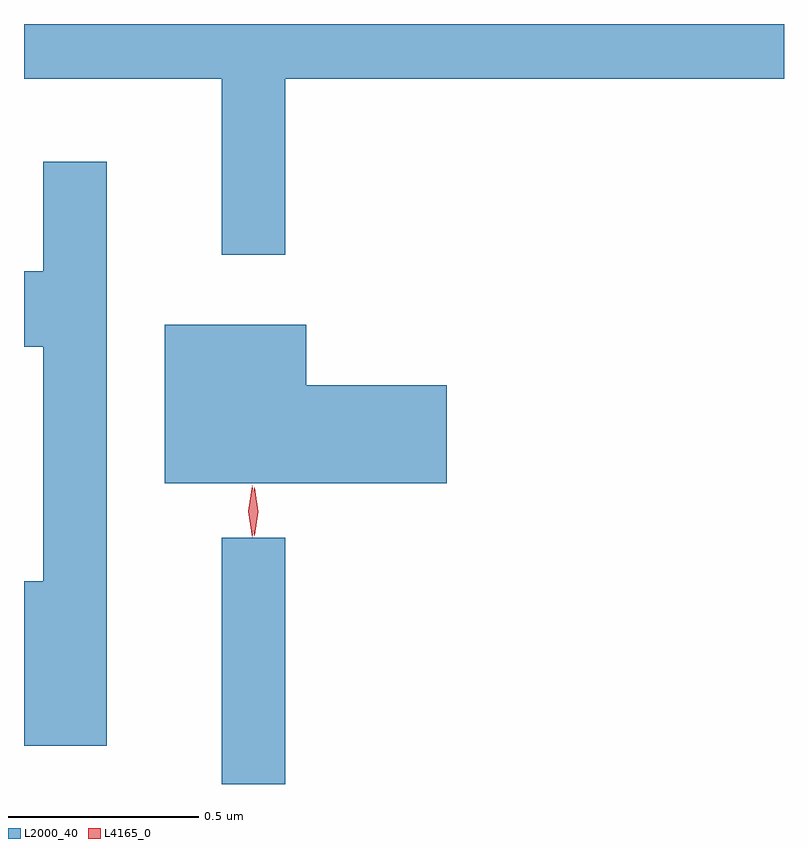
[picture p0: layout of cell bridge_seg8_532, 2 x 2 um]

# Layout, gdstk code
import gdstk
lib = gdstk.Library(unit=1e-6, precision=1e-09)
def R(c, l, rs):  # rectangles x0, y0, x1, y1
    for r in rs: c.add(gdstk.rectangle(r[:2], r[2:], *l))
def P(c, l, *ps):  # polygons
    for p in ps: c.add(gdstk.Polygon(p, *l))
L2000_40 = (2000, 40)
L4165_0 = (4165, 0)

bridge_seg8_532 = lib.new_cell('bridge_seg8_532')
R(bridge_seg8_532, L2000_40, [(257.081,1839,257.249,1839.648)])
P(bridge_seg8_532, L2000_40, [(257.249,1840.856),(258.561,1840.856),(258.561,1841),(256.561,1841),(256.561,1840.856),(257.081,1840.856),(257.081,1840.393),(257.249,1840.393)],
  [(256.779,1840.638),(256.611,1840.638),(256.611,1840.349),(256.561,1840.349),(256.561,1840.151),(256.611,1840.151),(256.611,1839.534),(256.561,1839.534),(256.561,1839.101),(256.779,1839.101)],
  [(257.674,1840.049),(257.304,1840.049),(257.304,1840.209),(256.931,1840.209),(256.931,1839.791),(257.674,1839.791)])
P(bridge_seg8_532, L4165_0, [(257.167,1839.653),(257.167,1839.654),(257.157,1839.716),(257.167,1839.78),(257.167,1839.78),(257.168,1839.78),(257.177,1839.716),(257.168,1839.654)],
  [(257.161,1839.65),(257.151,1839.718),(257.161,1839.785),(257.161,1839.786),(257.162,1839.785),(257.171,1839.718),(257.162,1839.65),(257.162,1839.65)])

lib.write_gds('bridge_seg8_532.gds')
